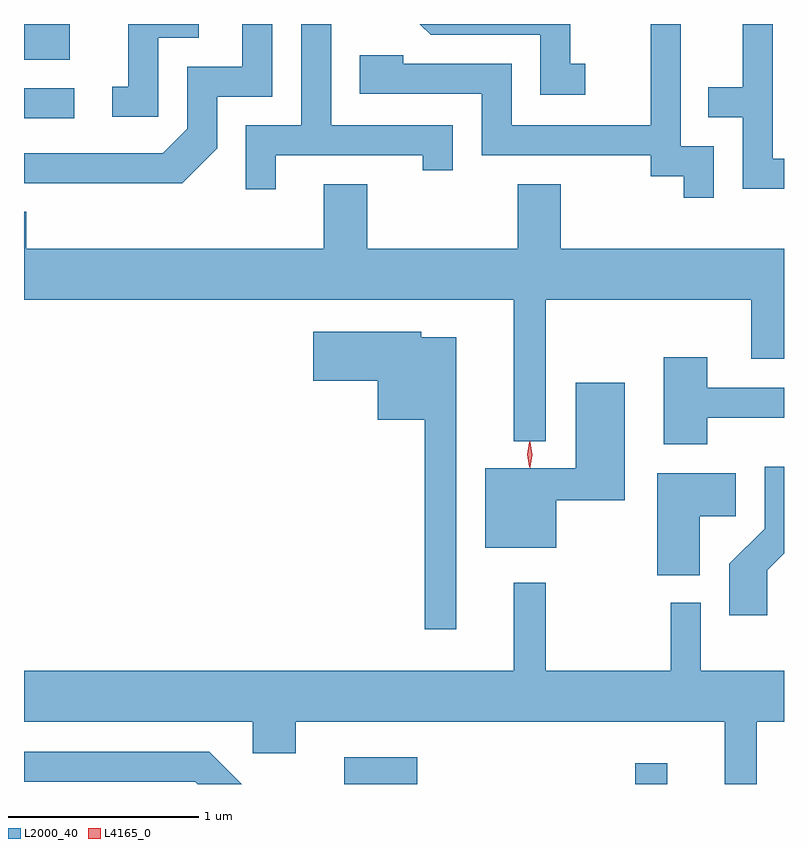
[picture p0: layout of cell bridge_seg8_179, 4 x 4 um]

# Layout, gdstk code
import gdstk
lib = gdstk.Library(unit=1e-6, precision=1e-09)
def R(c, l, rs):  # rectangles x0, y0, x1, y1
    for r in rs: c.add(gdstk.rectangle(r[:2], r[2:], *l))
def P(c, l, *ps):  # polygons
    for p in ps: c.add(gdstk.Polygon(p, *l))
L2000_40 = (2000, 40)
L4165_0 = (4165, 0)

bridge_seg8_179 = lib.new_cell('bridge_seg8_179')
R(bridge_seg8_179, L2000_40, [(1143.448,1907.128,1143.834,1907.269), (1144.981,1907.128,1145.149,1907.238), (1141.763,1910.631,1142.028,1910.789), (1141.763,1910.941,1142.004,1911.128)])
P(bridge_seg8_179, L2000_40, [(1142.779,1910.474),(1142.779,1910.746),(1143.069,1910.746),(1143.069,1911.128),(1142.911,1911.128),(1142.911,1910.904),(1142.621,1910.904),(1142.621,1910.577),(1142.494,1910.449),(1141.763,1910.449),(1141.763,1910.291),(1142.597,1910.291)],
  [(1145.763,1910.419),(1145.704,1910.419),(1145.704,1911.128),(1145.546,1911.128),(1145.546,1910.794),(1145.363,1910.794),(1145.363,1910.636),(1145.546,1910.636),(1145.546,1910.261),(1145.763,1910.261)],
  [(1143.089,1910.436),(1143.861,1910.436),(1143.861,1910.358),(1144.019,1910.358),(1144.019,1910.594),(1143.379,1910.594),(1143.379,1911.128),(1143.221,1911.128),(1143.221,1910.594),(1142.931,1910.594),(1142.931,1910.258),(1143.089,1910.258)],
  [(1144.718,1910.919),(1144.639,1910.919),(1144.639,1911.128),(1143.847,1911.128),(1143.904,1911.071),(1144.481,1911.071),(1144.481,1910.756),(1144.718,1910.756)],
  [(1145.394,1910.484),(1145.219,1910.484),(1145.219,1911.128),(1145.061,1911.128),(1145.061,1910.594),(1144.329,1910.594),(1144.329,1910.919),(1143.759,1910.919),(1143.759,1910.964),(1143.531,1910.964),(1143.531,1910.761),(1144.171,1910.761),(1144.171,1910.436),(1145.061,1910.436),(1145.061,1910.326),(1145.236,1910.326),(1145.236,1910.213),(1145.394,1910.213)],
  [(1142.469,1911.056),(1142.684,1911.056),(1142.684,1911.128),(1142.311,1911.128),(1142.311,1910.799),(1142.228,1910.799),(1142.228,1910.641),(1142.469,1910.641)],
  [(1144.509,1909.676),(1145.591,1909.676),(1145.591,1909.366),(1145.763,1909.366),(1145.763,1909.944),(1144.589,1909.944),(1144.589,1910.284),(1144.361,1910.284),(1144.361,1909.944),(1143.569,1909.944),(1143.569,1910.284),(1143.341,1910.284),(1143.341,1909.944),(1141.774,1909.944),(1141.774,1910.139),(1141.763,1910.139),(1141.763,1909.676),(1144.341,1909.676),(1144.341,1908.933),(1144.509,1908.933)],
  [(1144.039,1909.479),(1143.854,1909.479),(1143.854,1909.509),(1143.286,1909.509),(1143.286,1909.251),(1143.626,1909.251),(1143.626,1909.046),(1143.871,1909.046),(1143.871,1907.943),(1144.039,1907.943)],
  [(1145.359,1909.056),(1145.763,1909.056),(1145.763,1909.214),(1145.359,1909.214),(1145.359,1909.374),(1145.131,1909.374),(1145.131,1908.916),(1145.359,1908.916)],
  [(1144.564,1908.621),(1144.924,1908.621),(1144.924,1909.239),(1144.666,1909.239),(1144.666,1908.789),(1144.191,1908.789),(1144.191,1908.371),(1144.564,1908.371)],
  [(1145.674,1908.254),(1145.763,1908.343),(1145.763,1908.799),(1145.661,1908.799),(1145.661,1908.472),(1145.476,1908.287),(1145.476,1908.016),(1145.674,1908.016)],
  [(1145.319,1908.536),(1145.509,1908.536),(1145.509,1908.764),(1145.096,1908.764),(1145.096,1908.226),(1145.319,1908.226)],
  [(1145.619,1907.456),(1145.763,1907.456),(1145.763,1907.724),(1145.324,1907.724),(1145.324,1908.083),(1145.166,1908.083),(1145.166,1907.724),(1144.509,1907.724),(1144.509,1908.188),(1144.341,1908.188),(1144.341,1907.724),(1141.763,1907.724),(1141.763,1907.456),(1142.966,1907.456),(1142.966,1907.291),(1143.194,1907.291),(1143.194,1907.456),(1145.451,1907.456),(1145.451,1907.128),(1145.619,1907.128)],
  [(1142.737,1907.299),(1141.763,1907.299),(1141.763,1907.141),(1142.664,1907.141),(1142.677,1907.128),(1142.908,1907.128)])
P(bridge_seg8_179, L4165_0, [(1144.422,1908.799),(1144.422,1908.799),(1144.412,1908.863),(1144.422,1908.927),(1144.422,1908.928),(1144.423,1908.927),(1144.432,1908.863),(1144.423,1908.799)],
  [(1144.427,1908.793),(1144.426,1908.794),(1144.417,1908.862),(1144.426,1908.93),(1144.427,1908.931),(1144.427,1908.93),(1144.437,1908.862),(1144.427,1908.794)])

lib.write_gds('bridge_seg8_179.gds')
